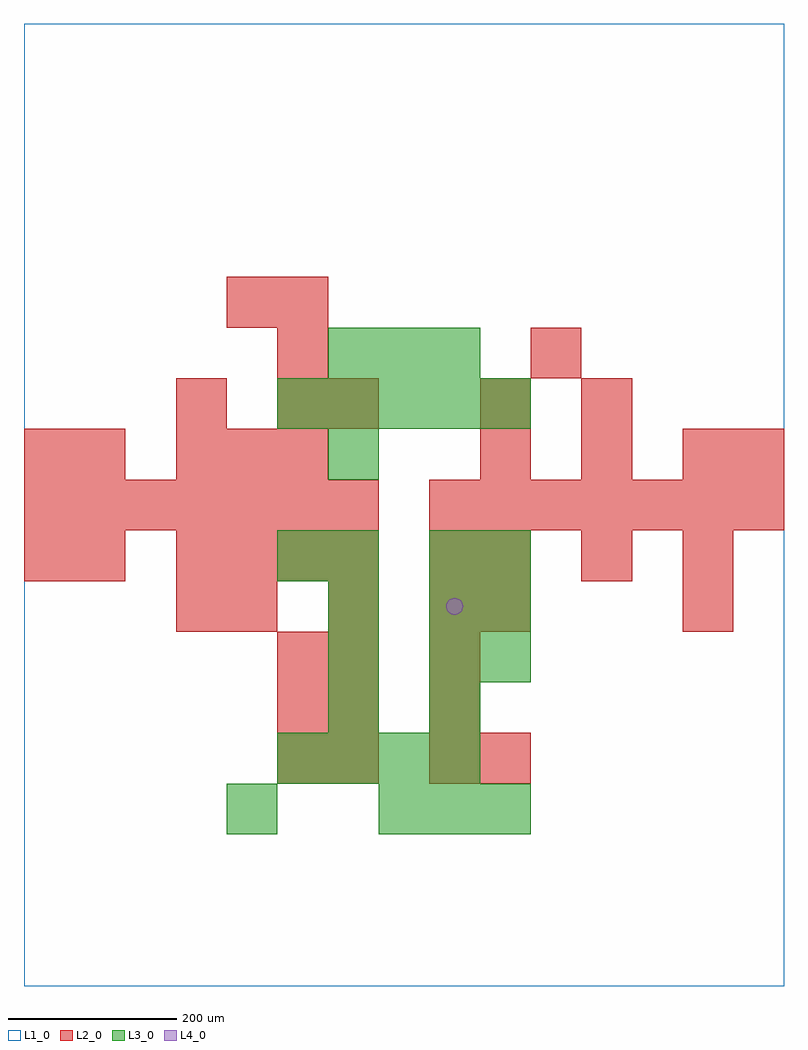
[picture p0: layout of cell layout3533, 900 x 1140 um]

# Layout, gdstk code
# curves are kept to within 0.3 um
import gdstk
lib = gdstk.Library(unit=1e-6, precision=1e-09)
def R(c, l, rs):  # rectangles x0, y0, x1, y1
    for r in rs: c.add(gdstk.rectangle(r[:2], r[2:], *l))
def A(c, l, x, y, w, h, nx, ny, dx, dy):  # array of equal rectangles
    R(c, l, [(x+i*dx, y+j*dy, x+i*dx+w, y+j*dy+h) for i in range(nx) for j in range(ny)])
def P(c, l, *ps):  # polygons
    for p in ps: c.add(gdstk.Polygon(p, *l))
L1_0 = (1, 0)
L2_0 = (2, 0)
L3_0 = (3, 0)
L4_0 = (4, 0)

layout3533 = lib.new_cell('layout3533')
R(layout3533, L1_0, [(0,0,900,1140)])
A(layout3533, L2_0, 300, 240, 60, 60, 1, 3, 0, 60)
A(layout3533, L2_0, 360, 240, 60, 60, 1, 3, 0, 60)
A(layout3533, L2_0, 480, 240, 60, 60, 1, 3, 0, 60)
A(layout3533, L2_0, 240, 420, 60, 60, 3, 1, 120, 0)
A(layout3533, L2_0, 180, 480, 60, 60, 4, 1, 60, 0)
A(layout3533, L2_0, 540, 480, 60, 60, 3, 2, 120, 120)
A(layout3533, L2_0, 0, 540, 60, 60, 7, 1, 60, 0)
A(layout3533, L2_0, 480, 540, 60, 60, 7, 1, 60, 0)
A(layout3533, L2_0, 180, 600, 60, 60, 3, 1, 60, 0)
A(layout3533, L2_0, 300, 660, 60, 60, 1, 3, 0, 60)
R(layout3533, L2_0, [(540,240,600,300), (180,420,240,480), (540,420,600,480), (780,420,840,480), (0,480,60,540), (60,480,120,540), (480,480,540,540), (0,600,60,660), (60,600,120,660), (840,600,900,660), (180,660,240,720), (360,660,420,720), (540,660,600,720), (660,660,720,720), (600,720,660,780), (240,780,300,840)])
A(layout3533, L3_0, 420, 180, 60, 60, 3, 1, 60, 0)
A(layout3533, L3_0, 300, 240, 60, 60, 4, 1, 60, 0)
A(layout3533, L3_0, 360, 300, 60, 60, 1, 4, 0, 60)
A(layout3533, L3_0, 480, 300, 60, 60, 1, 4, 0, 60)
A(layout3533, L3_0, 540, 360, 60, 60, 1, 3, 0, 60)
A(layout3533, L3_0, 300, 660, 60, 60, 5, 1, 60, 0)
A(layout3533, L3_0, 360, 720, 60, 60, 3, 1, 60, 0)
R(layout3533, L3_0, [(240,180,300,240), (300,480,360,540), (360,600,420,660)])
P(layout3533, L4_0, [(520,450),(519.239,453.827),(517.071,457.071),(513.827,459.239),(510,460),(506.173,459.239),(502.929,457.071),(500.761,453.827),(500,450),(500.761,446.173),(502.929,442.929),(506.173,440.761),(510,440),(513.827,440.761),(517.071,442.929),(519.239,446.173)])

lib.write_gds('layout3533.gds')
